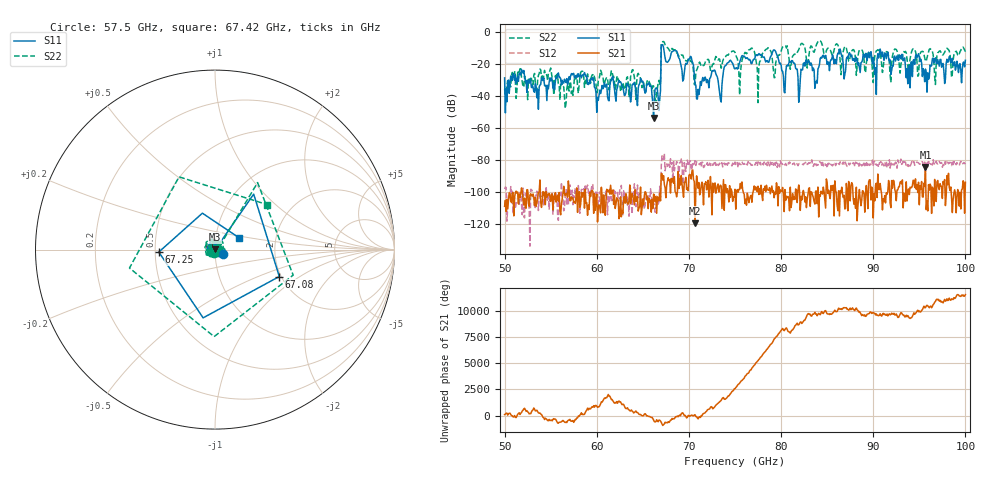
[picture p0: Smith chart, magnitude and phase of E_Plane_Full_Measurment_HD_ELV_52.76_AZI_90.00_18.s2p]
! 11/26/2026 3:23:39 PM
! C:\ANRITSUVNA\TEMP\TEMP.S2P
! CHANNEL.1
! TR.MEASUREMENT
! RAW.DATA
# HZ S RI R 50.0
! FREQ.HZ  S11RE  S11IM  S21RE  S21IM  S12RE  S12IM  S22RE  S22IM
!; PortSelection: Port_12
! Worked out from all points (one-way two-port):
!   601 points, 50 GHz to 100 GHz, reference 50 ohm
!   highest |S21| = -84.58 dB at 95.67 GHz (marker M1); lowest = -119.6 dB at 70.67 GHz (marker M2)
!   lowest |S11| = -54.0 dB at 66.17 GHz (marker M3), VSWR 1.00, Z = 50.1 + j0.146 ohm
!   |S11| at or under -10 dB: start of sweep to 67 GHz; 67.25 GHz to end of sweep
!   |S22| runs from -48.0 to -5.6 dB; largest |S21 - S12| = 0.00017
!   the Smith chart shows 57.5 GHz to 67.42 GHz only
!   S11 on the Smith chart (normalised r, x): 57.5 GHz: 1.09, -0.05; 67.08 GHz: 1.96, -0.69; 67.25 GHz: 0.52, -0.02; 67.42 GHz: 1.29, +0.18
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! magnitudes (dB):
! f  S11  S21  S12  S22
! 50 GHz  -29.0  -109.1  -98.2  -35.8
! 51.67 GHz  -26.3  -103.7  -100.5  -23.3
! 53.42 GHz  -34.8  -109.1  -101.1  -35.4
! 57.5 GHz  -26.2  -106.7  -102.5  -34.7
! 58.42 GHz  -27.2  -103.4  -98.7  -24.7
! 60.17 GHz  -42.9  -109.6  -110.4  -30.4
! 66.17 GHz  -54.0  -101.5  -106.9  -34.0
! 66.67 GHz  -41.5  -103.8  -108.5  -31.7
! 67.08 GHz  -8.2  -88.8  -77.6  -6.8
! 67.25 GHz  -10.1  -90.0  -79.9  -6.2
! 67.42 GHz  -16.6  -97.5  -86.9  -8.3
! 70.17 GHz  -15.5  -89.8  -80.8  -18.6
! 70.67 GHz  -33.3  -119.6  -80.6  -33.1
! 73.42 GHz  -42.3  -95.9  -83.3  -19.7
! 74.08 GHz  -20.4  -100.7  -81.6  -14.9
! 75 GHz  -23.3  -98.5  -81.5  -13.0
! 79.25 GHz  -11.5  -103.7  -82.0  -28.8
! 80.25 GHz  -27.8  -101.6  -84.0  -9.3
! 83.42 GHz  -24.5  -102.1  -83.8  -10.8
! 91.67 GHz  -16.7  -93.0  -83.7  -15.2
! 95.67 GHz  -23.4  -84.6  -82.7  -18.5
! 100 GHz  -17.9  -94.1  -82.8  -12.6
